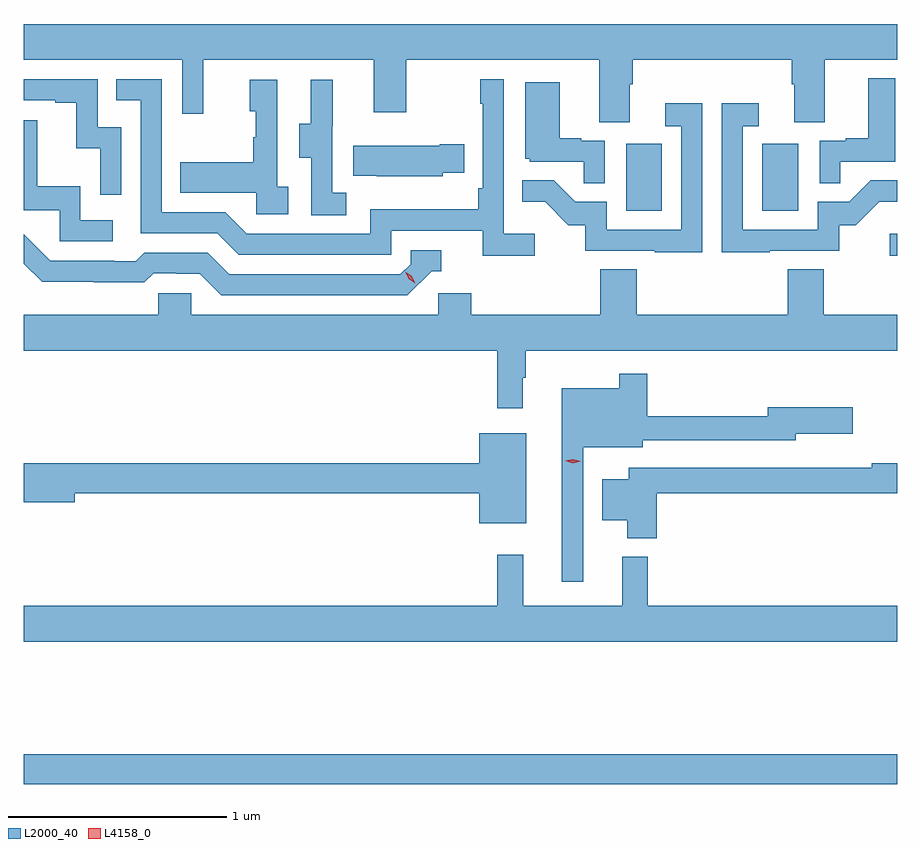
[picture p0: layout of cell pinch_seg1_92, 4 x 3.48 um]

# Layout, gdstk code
import gdstk
lib = gdstk.Library(unit=1e-6, precision=1e-09)
def R(c, l, rs):  # rectangles x0, y0, x1, y1
    for r in rs: c.add(gdstk.rectangle(r[:2], r[2:], *l))
def P(c, l, *ps):  # polygons
    for p in ps: c.add(gdstk.Polygon(p, *l))
L2000_40 = (2000, 40)
L4158_0 = (4158, 0)

pinch_seg1_92 = lib.new_cell('pinch_seg1_92')
R(pinch_seg1_92, L2000_40, [(1031.29,560.404,1035.29,560.54), (1035.255,562.822,1035.29,562.924), (1034.048,563.028,1034.212,563.335), (1034.672,563.028,1034.836,563.335)])
P(pinch_seg1_92, L2000_40, [(1031.29,563.72),(1032.015,563.72),(1032.015,563.472),(1032.113,563.472),(1032.113,563.72),(1032.893,563.72),(1032.893,563.481),(1033.041,563.481),(1033.041,563.72),(1033.925,563.72),(1033.925,563.434),(1034.065,563.434),(1034.065,563.608),(1034.078,563.608),(1034.078,563.72),(1034.807,563.72),(1034.807,563.608),(1034.819,563.608),(1034.819,563.434),(1034.959,563.434),(1034.959,563.72),(1035.29,563.72),(1035.29,563.884),(1031.29,563.884)],
  [(1035.029,563.253),(1035.28,563.253),(1035.28,563.635),(1035.158,563.635),(1035.158,563.362),(1035.055,563.362),(1035.055,563.349),(1034.934,563.349),(1034.934,563.155),(1035.029,563.155)],
  [(1033.63,562.924),(1033.488,562.924),(1033.488,563.632),(1033.38,563.632),(1033.38,563.519),(1033.392,563.519),(1033.392,563.131),(1033.372,563.131),(1033.372,563.035),(1032.876,563.035),(1032.876,562.923),(1032.312,562.923),(1032.213,563.022),(1031.922,563.022),(1031.922,563.631),(1031.713,563.631),(1031.713,563.535),(1031.826,563.535),(1031.826,562.926),(1032.176,562.926),(1032.275,562.827),(1032.972,562.827),(1032.972,562.938),(1033.391,562.938),(1033.391,562.822),(1033.63,562.822)],
  [(1031.736,563.412),(1031.628,563.412),(1031.628,563.631),(1031.29,563.631),(1031.29,563.535),(1031.435,563.535),(1031.435,563.523),(1031.531,563.523),(1031.531,563.315),(1031.64,563.315),(1031.64,563.103),(1031.736,563.103)],
  [(1032.766,563.111),(1032.702,563.111),(1032.702,563.415),(1032.704,563.415),(1032.704,563.629),(1032.605,563.629),(1032.605,563.427),(1032.551,563.427),(1032.551,563.272),(1032.606,563.272),(1032.606,563.008),(1032.766,563.008)],
  [(1032.502,563.138),(1032.45,563.138),(1032.45,563.629),(1032.326,563.629),(1032.326,563.484),(1032.352,563.484),(1032.352,563.366),(1032.342,563.366),(1032.342,563.251),(1032.007,563.251),(1032.007,563.111),(1032.354,563.111),(1032.354,563.013),(1032.502,563.013)],
  [(1033.95,563.349),(1033.844,563.349),(1033.844,563.362),(1033.744,563.362),(1033.744,563.617),(1033.586,563.617),(1033.586,563.268),(1033.608,563.268),(1033.608,563.253),(1033.855,563.253),(1033.855,563.155),(1033.95,563.155)],
  [(1034.397,563.521),(1034.228,563.521),(1034.228,563.415),(1034.301,563.415),(1034.301,562.941),(1033.959,562.941),(1033.959,563.07),(1033.815,563.07),(1033.717,563.168),(1033.573,563.168),(1033.573,563.069),(1033.677,563.069),(1033.784,562.962),(1033.861,562.962),(1033.861,562.845),(1034.179,562.845),(1034.179,562.84),(1034.397,562.84)],
  [(1034.705,562.845),(1035.024,562.845),(1035.024,562.962),(1035.1,562.962),(1035.207,563.069),(1035.29,563.069),(1035.29,563.168),(1035.168,563.168),(1035.07,563.07),(1034.925,563.07),(1034.925,562.941),(1034.583,562.941),(1034.583,563.415),(1034.656,563.415),(1034.656,563.521),(1034.487,563.521),(1034.487,562.84),(1034.705,562.84)],
  [(1031.698,562.986),(1031.55,562.986),(1031.55,563.14),(1031.351,563.14),(1031.351,563.443),(1031.29,563.443),(1031.29,563.031),(1031.454,563.031),(1031.454,562.89),(1031.698,562.89)],
  [(1033.209,563.204),(1033.307,563.204),(1033.307,563.334),(1033.196,563.334),(1033.196,563.326),(1032.799,563.326),(1032.799,563.189),(1032.907,563.189),(1032.907,563.186),(1033.209,563.186)],
  [(1033.158,562.752),(1033.201,562.752),(1033.201,562.848),(1033.062,562.848),(1033.062,562.785),(1033.014,562.737),(1032.231,562.737),(1032.132,562.836),(1031.843,562.836),(1031.804,562.797),(1031.705,562.797),(1031.705,562.8),(1031.412,562.8),(1031.29,562.922),(1031.29,562.787),(1031.374,562.703),(1031.61,562.703),(1031.61,562.701),(1031.843,562.701),(1031.885,562.743),(1031.988,562.743),(1031.988,562.74),(1032.095,562.74),(1032.194,562.641),(1033.047,562.641)],
  [(1033.576,562.265),(1033.588,562.265),(1033.588,562.388),(1035.29,562.388),(1035.29,562.552),(1034.954,562.552),(1034.954,562.76),(1034.789,562.76),(1034.789,562.552),(1034.096,562.552),(1034.096,562.76),(1033.93,562.76),(1033.93,562.552),(1033.34,562.552),(1033.34,562.65),(1033.188,562.65),(1033.188,562.552),(1032.057,562.552),(1032.057,562.65),(1031.907,562.65),(1031.907,562.552),(1031.29,562.552),(1031.29,562.388),(1033.459,562.388),(1033.459,562.125),(1033.576,562.125)],
  [(1033.851,561.947),(1034.125,561.947),(1034.125,561.978),(1034.824,561.978),(1034.824,562.007),(1035.085,562.007),(1035.085,562.129),(1034.696,562.129),(1034.696,562.087),(1034.144,562.087),(1034.144,562.282),(1034.016,562.282),(1034.016,562.216),(1033.754,562.216),(1033.754,561.33),(1033.851,561.33)],
  [(1033.591,562.009),(1033.376,562.009),(1033.376,561.872),(1031.29,561.872),(1031.29,561.694),(1031.524,561.694),(1031.524,561.736),(1033.376,561.736),(1033.376,561.599),(1033.591,561.599)],
  [(1034.189,561.736),(1035.29,561.736),(1035.29,561.872),(1035.172,561.872),(1035.172,561.853),(1034.92,561.853),(1034.92,561.852),(1034.06,561.852),(1034.06,561.799),(1033.94,561.799),(1033.94,561.611),(1034.054,561.611),(1034.054,561.53),(1034.189,561.53)],
  [(1035.29,561.22),(1034.147,561.22),(1034.147,561.445),(1034.03,561.445),(1034.03,561.22),(1033.577,561.22),(1033.577,561.454),(1033.459,561.454),(1033.459,561.22),(1031.29,561.22),(1031.29,561.056),(1035.29,561.056)])
P(pinch_seg1_92, L4158_0, [(1033.804,561.872),(1033.77,561.884),(1033.769,561.884),(1033.77,561.884),(1033.805,561.892),(1033.84,561.881),(1033.841,561.881),(1033.84,561.881)],
  [(1033.082,562.697),(1033.052,562.717),(1033.037,562.75),(1033.037,562.75),(1033.037,562.75),(1033.067,562.73),(1033.083,562.697),(1033.083,562.697)])

lib.write_gds('pinch_seg1_92.gds')
